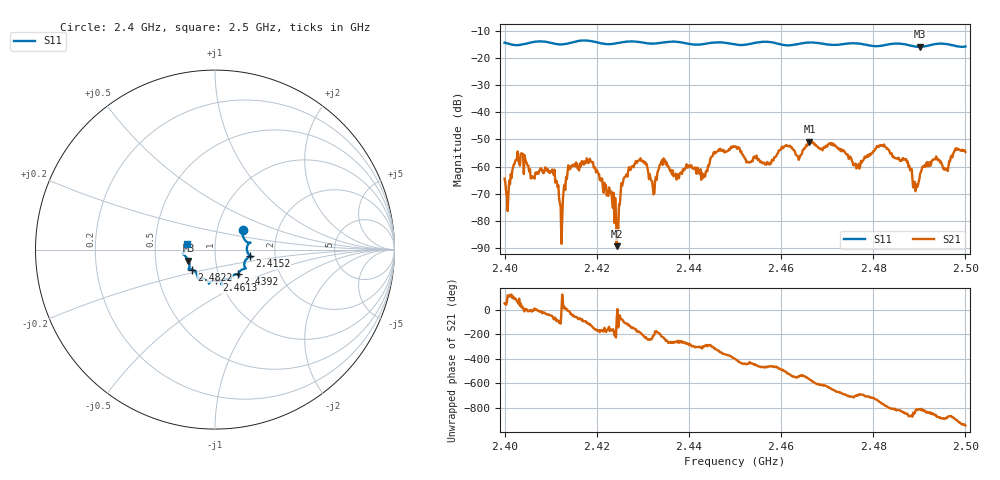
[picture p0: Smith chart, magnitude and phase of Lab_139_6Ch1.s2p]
# Hz S RI R 50
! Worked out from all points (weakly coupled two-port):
!   601 points, 2.4 GHz to 2.5 GHz, reference 50 ohm
!   highest |S21| = -50.86 dB at 2.4662 GHz (marker M1); lowest = -89.3 dB at 2.4243 GHz (marker M2)
!   lowest |S11| = -15.9 dB at 2.4902 GHz (marker M3), VSWR 1.38, Z = 36.9 - j4.61 ohm
!   |S11| at or under -10 dB: start of sweep to end of sweep
!   S12 and S22 are empty: the file has one direction only
!   S11 on the Smith chart (normalised r, x): 2.4 GHz: 1.33, +0.30; 2.4152 GHz: 1.48, -0.11; 2.4392 GHz: 1.23, -0.35; 2.4613 GHz: 0.96, -0.34; 2.4822 GHz: 0.76, -0.17; 2.5 GHz: 0.73, +0.05
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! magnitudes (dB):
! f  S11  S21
! 2.4 GHz  -14.4  -64.4
! 2.404 GHz  -15.0  -55.4
! 2.4103 GHz  -14.6  -61.1
! 2.4123 GHz  -15.0  -88.5
! 2.4152 GHz  -14.1  -59.3
! 2.4167 GHz  -13.6  -58.3
! 2.419 GHz  -13.9  -58.5
! 2.4243 GHz  -14.6  -89.3
! 2.4273 GHz  -13.9  -61.3
! 2.4333 GHz  -14.6  -61.4
! 2.4392 GHz  -14.5  -60.6
! 2.4432 GHz  -14.9  -64.0
! 2.45 GHz  -15.0  -52.8
! 2.4572 GHz  -14.1  -58.7
! 2.4613 GHz  -15.4  -52.4
! 2.4662 GHz  -14.3  -50.9
! 2.4667 GHz  -14.3  -51.0
! 2.4767 GHz  -14.7  -59.7
! 2.4822 GHz  -15.4  -52.6
! 2.4833 GHz  -15.0  -53.8
! 2.4902 GHz  -15.9  -62.8
! 2.5 GHz  -15.8  -54.6
